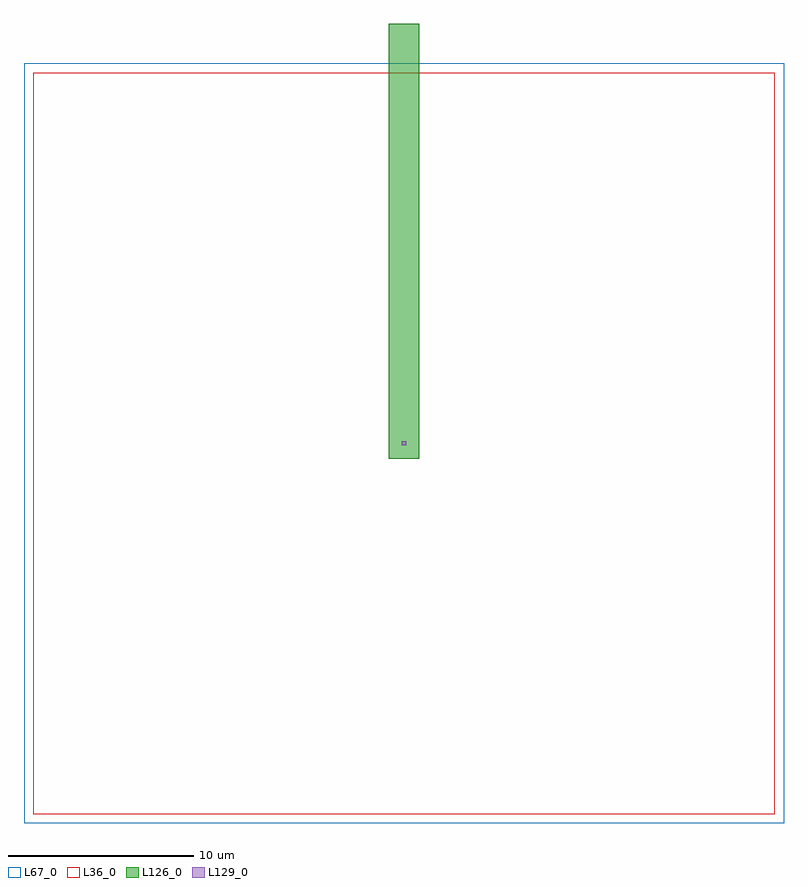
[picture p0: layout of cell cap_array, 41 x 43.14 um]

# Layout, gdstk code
import gdstk
lib = gdstk.Library(unit=1e-6, precision=1e-09)
def R(c, l, rs):  # rectangles x0, y0, x1, y1
    for r in rs: c.add(gdstk.rectangle(r[:2], r[2:], *l))
L36_0 = (36, 0)
L67_0 = (67, 0)
L126_0 = (126, 0)
L129_0 = (129, 0)

cap_array = lib.new_cell('cap_array')
R(cap_array, L36_0, [(0.5,0.5,40.5,40.5)])
R(cap_array, L67_0, [(0,0,41,41)])
R(cap_array, L126_0, [(19.68,19.68,21.32,21.32), (19.68,21.32,21.32,41.5), (19.68,41.5,21.32,43.14)])
R(cap_array, L129_0, [(20.39,20.39,20.61,20.61)])

lib.write_gds('cap_array.gds')
